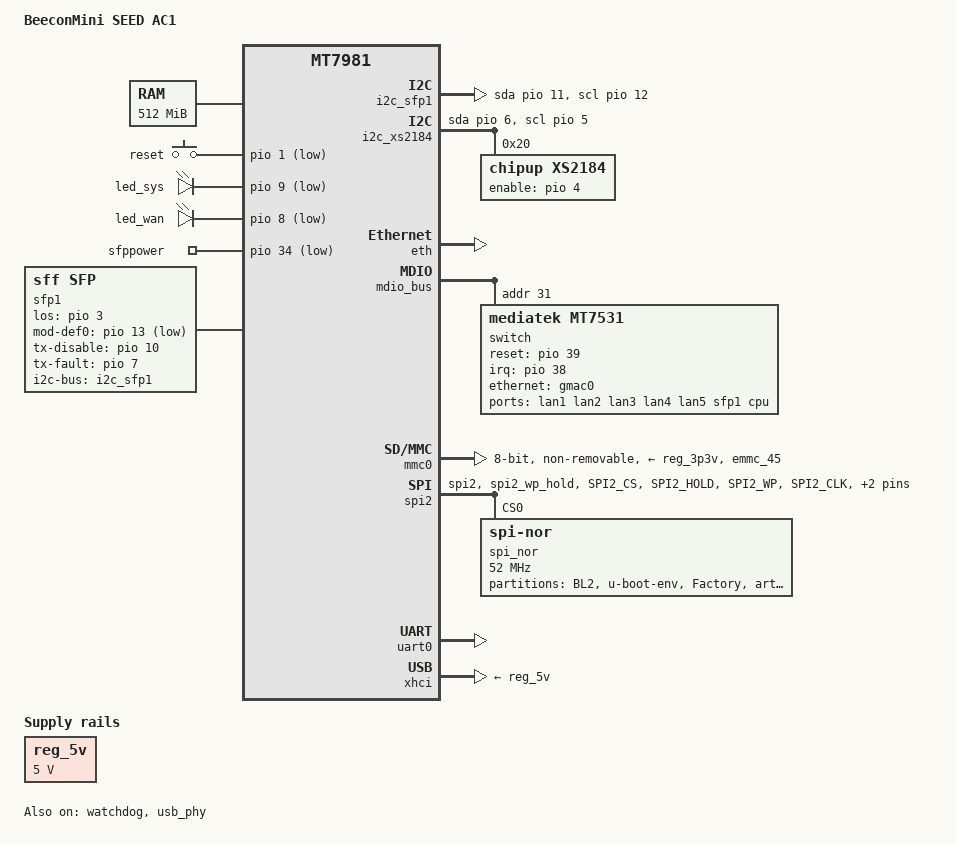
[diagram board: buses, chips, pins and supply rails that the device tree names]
// SPDX-License-Identifier: GPL-2.0-or-later OR MIT

/dts-v1/;

#include "mt7981b.dtsi"

/ {
	model = "BeeconMini SEED AC1";
	compatible = "beeconmini,seed-ac1", "mediatek,mt7981";

	aliases {
		serial0 = &uart0;
		led-boot = &led_sys;
		led-failsafe = &led_sys;
		led-running = &led_sys;
		led-upgrade = &led_sys;
	};

	chosen {
		stdout-path = "serial0:115200n8";
		bootargs = "root=PARTLABEL=rootfs rootfstype=squashfs,f2fs rootwait fstools_partname_fallback_scan=1";
	};

	memory {
		reg = <0 0x40000000 0 0x20000000>;
	};

	gpio-keys {
		compatible = "gpio-keys";

		reset {
			label = "reset";
			linux,code = <KEY_RESTART>;
			gpios = <&pio 1 GPIO_ACTIVE_LOW>;
		};
	};

	leds {
		compatible = "gpio-leds";

		led_sys: led_sys {
			label = "led_sys";
			gpios = <&pio 9 GPIO_ACTIVE_LOW>;
		};

		led_wan: led_wan {
			label = "led_wan";
			gpios = <&pio 8 GPIO_ACTIVE_LOW>;
		};
	};

	gpio_export {
		compatible = "gpio-export";
		#size-cells = <0>;

		sfppower {
			gpio-export,name = "sfppower";
			gpio-export,output = <0>;
			gpios = <&pio 34 GPIO_ACTIVE_LOW>;
		};
	};

	i2c_sfp1: i2c-gpio-0 {
		compatible = "i2c-gpio";
		sda-gpios = <&pio 11 (GPIO_ACTIVE_HIGH | GPIO_OPEN_DRAIN)>;
		scl-gpios = <&pio 12 (GPIO_ACTIVE_HIGH | GPIO_OPEN_DRAIN)>;
		i2c-gpio,delay-us = <2>;
		#address-cells = <1>;
		#size-cells = <0>;
	};

	sfp1: sfp-1 {
		compatible = "sff,sfp";
		i2c-bus = <&i2c_sfp1>;
		los-gpios = <&pio 3 GPIO_ACTIVE_HIGH>;
		mod-def0-gpios = <&pio 13 GPIO_ACTIVE_LOW>;
		tx-disable-gpios = <&pio 10 GPIO_ACTIVE_HIGH>;
		tx-fault-gpios = <&pio 7 GPIO_ACTIVE_HIGH>;
	};

	i2c_xs2184: i2c-gpio-1 {
		compatible = "i2c-gpio";
		sda-gpios = <&pio 6 (GPIO_ACTIVE_HIGH | GPIO_OPEN_DRAIN)>;
		scl-gpios = <&pio 5 (GPIO_ACTIVE_HIGH | GPIO_OPEN_DRAIN)>;
		i2c-gpio,delay-us = <2>;
		#address-cells = <1>;
		#size-cells = <0>;

		xs2184: xs2184@20 {
			compatible = "chipup,xs2184";
			reg = <0x20>;
			enable-gpios = <&pio 4 GPIO_ACTIVE_HIGH>;
		};
	};

	reg_5v: regulator-5v {
		compatible = "regulator-fixed";
		regulator-name = "fixed-5V";
		regulator-min-microvolt = <5000000>;
		regulator-max-microvolt = <5000000>;
		regulator-boot-on;
		regulator-always-on;
	};
};

&eth {
	status = "okay";

	gmac0: mac@0 {
		compatible = "mediatek,eth-mac";
		reg = <0>;
		phy-mode = "2500base-x";

		fixed-link {
			speed = <2500>;
			full-duplex;
			pause;
		};
	};

	gmac1: mac@1 {
		compatible = "mediatek,eth-mac";
		reg = <1>;
		phy-mode = "gmii";
		phy-handle = <&int_gbe_phy>;
	};
};

&mdio_bus {
	switch: switch@1f {
		compatible = "mediatek,mt7531";
		reg = <31>;
		reset-gpios = <&pio 39 GPIO_ACTIVE_HIGH>;
		interrupt-controller;
		#interrupt-cells = <1>;
		interrupt-parent = <&pio>;
		interrupts = <38 IRQ_TYPE_LEVEL_HIGH>;

		ports {
			#address-cells = <1>;
			#size-cells = <0>;

			port@0 {
				reg = <0>;
				label = "lan1";
			};

			port@1 {
				reg = <1>;
				label = "lan2";
			};

			port@2 {
				reg = <2>;
				label = "lan3";
			};

			port@3 {
				reg = <3>;
				label = "lan4";
			};

			port@4 {
				reg = <4>;
				label = "lan5";
			};

			port5: port@5 {
				reg = <5>;
				label = "sfp1";
				sfp = <&sfp1>;
				phy-mode = "2500base-x";
				managed = "in-band-status";
			};

			port@6 {
				reg = <6>;
				label = "cpu";
				ethernet = <&gmac0>;
				phy-mode = "2500base-x";

				fixed-link {
					speed = <2500>;
					full-duplex;
					pause;
				};
			};
		};
	};
};

&mmc0 {
	max-frequency = <26000000>;
	no-sd;
	no-sdio;
	pinctrl-names = "default", "state_uhs";
	pinctrl-0 = <&mmc0_pins_default>;
	pinctrl-1 = <&mmc0_pins_uhs>;
	vmmc-supply = <&reg_3p3v>;
	non-removable;
	status = "okay";
	bus-width = <8>;
};

&spi2 {
	pinctrl-names = "default";
	pinctrl-0 = <&spi2_flash_pins>;
	status = "okay";

	spi_nor@0 {
		#address-cells = <1>;
		#size-cells = <1>;
		compatible = "jedec,spi-nor";
		reg = <0>;
		spi-max-frequency = <52000000>;
		spi-tx-buswidth = <4>;
		spi-rx-buswidth = <4>;

		partition@00000 {
			label = "BL2";
			reg = <0x00000 0x0040000>;
			read-only;
		};

		partition@40000 {
			label = "u-boot-env";
			reg = <0x40000 0x0010000>;
		};

		partition@50000 {
			label = "Factory";
			reg = <0x50000 0x00A0000>;
		};

		partition@F0000 {
			label = "art";
			reg = <0xF0000 0x0010000>;
		};

		partition@100000 {
			label = "FIP";
			reg = <0x100000 0x0400000>;
			read-only;
		};
	};
};

&pio {
	spic_pins: spi1-pins {
		mux {
			function = "spi";
			groups = "spi1_1";
		};
	};

	spi2_flash_pins: spi2-pins {
		mux {
			function = "spi";
			groups = "spi2", "spi2_wp_hold";
		};

		conf-pu {
			pins = "SPI2_CS", "SPI2_HOLD", "SPI2_WP";
			drive-strength = <MTK_DRIVE_8mA>;
			bias-pull-up = <MTK_PUPD_SET_R1R0_11>;
		};

		conf-pd {
			pins = "SPI2_CLK", "SPI2_MOSI", "SPI2_MISO";
			drive-strength = <MTK_DRIVE_8mA>;
			bias-pull-down = <MTK_PUPD_SET_R1R0_11>;
		};
	};

	mmc0_pins_default: mmc0-pins-default {
		mux {
			function = "flash";
			groups = "emmc_45";
		};
	};

	mmc0_pins_uhs: mmc0-pins-uhs {
		mux {
			function = "flash";
			groups = "emmc_45";
		};
	};
};

&uart0 {
	status = "okay";
};

&watchdog {
	status = "okay";
};

&xhci {
	vusb33-supply = <&reg_3p3v>;
	vbus-supply = <&reg_5v>;
	status = "okay";
};

&usb_phy {
	status = "okay";
};
